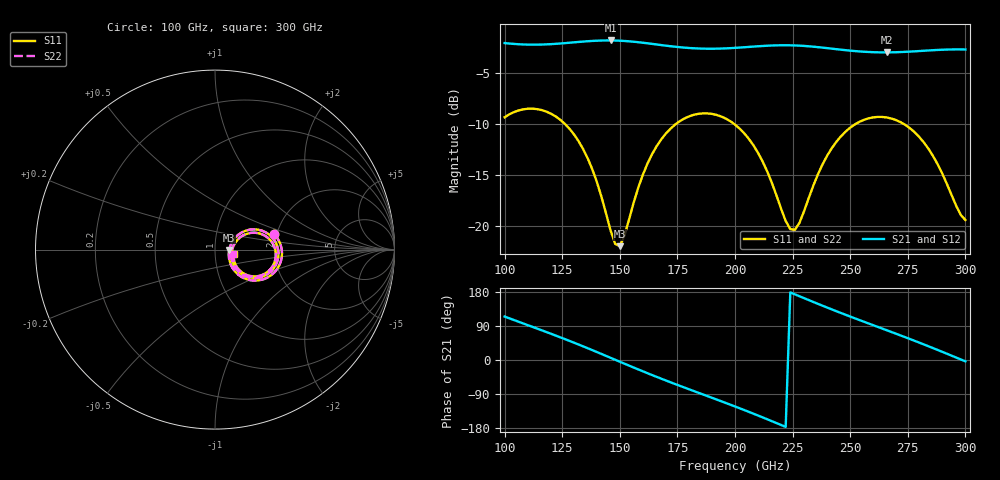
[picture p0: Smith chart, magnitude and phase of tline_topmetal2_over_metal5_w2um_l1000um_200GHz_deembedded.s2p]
! Created with skrf 2.2.0 (http://scikit-rf.org).
# GHz S DB R 50.0
! Port[1] = P1
! Port[2] = P2
!freq dBS11 angS11 dBS21 angS21 dBS12 angS12 dBS22 angS22
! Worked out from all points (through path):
!   101 points, 100 GHz to 300 GHz, reference 50 ohm
!   highest |S21| = -1.86 dB at 146 GHz (marker M1); lowest = -3.0 dB at 266 GHz (marker M2)
!   group delay of S21, straight-line fit = 6.66 ps
!   lowest |S11| = -22.0 dB at 150 GHz (marker M3), VSWR 1.17, Z = 58.6 - j0.172 ohm
!   |S11| at or under -10 dB: 126 GHz to 174.6 GHz (48.55 GHz wide, 32.3 % of centre); 199.4 GHz to 252.6 GHz (53.22 GHz wide, 23.5 % of centre); 273 GHz to end of sweep
!   |S22| runs from -22.1 to -8.5 dB; largest |S21 - S12| = 1.4e-13
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100  -9.38 14.9  -2.11 114.7  -2.11 114.7  -9.38 14.8
108  -8.61 0.6  -2.25 96.6  -2.25 96.6  -8.61 0.5
118  -8.81 -17.4  -2.24 74.1  -2.24 74.1  -8.82 -17.5
134  -12.46 -43.4  -1.97 36.2  -1.97 36.2  -12.46 -43.6
140  -15.69 -47.3  -1.88 21.1  -1.88 21.1  -15.70 -47.7
146  -20.47 -33.4  -1.86 5.8  -1.86 5.8  -20.52 -33.8
150  -22.00 -1.1  -1.88 -4.5  -1.88 -4.5  -22.07 -1.1
160  -15.01 32.7  -2.08 -29.9  -2.08 -29.9  -15.02 32.7
168  -11.54 24.8  -2.31 -49.3  -2.31 -49.3  -11.54 24.7
184  -9.05 -1.1  -2.64 -86.2  -2.64 -86.2  -9.05 -1.3
200  -10.09 -27.6  -2.58 -122.7  -2.58 -122.7  -10.10 -27.9
214  -14.69 -42.7  -2.37 -156.4  -2.37 -156.4  -14.72 -43.3
224  -20.34 -15.6  -2.33 178.4  -2.33 178.4  -20.49 -16.1
228  -19.71 9.6  -2.36 168.2  -2.36 168.2  -19.85 9.8
234  -16.07 25.9  -2.47 153.1  -2.47 153.1  -16.13 26.3
242  -12.41 23.1  -2.66 133.6  -2.66 133.6  -12.43 23.3
250  -10.40 12.6  -2.85 114.7  -2.85 114.7  -10.41 12.7
266  -9.40 -12.6  -3.02 78.2  -3.02 78.2  -9.41 -12.7
268  -9.51 -15.8  -3.02 73.7  -3.02 73.7  -9.52 -15.9
276  -10.46 -27.9  -2.95 55.2  -2.95 55.2  -10.47 -28.1
286  -13.19 -39.2  -2.81 31.3  -2.81 31.3  -13.21 -39.5
300  -19.45 -13.4  -2.74 -3.6  -2.74 -3.6  -19.57 -13.6
